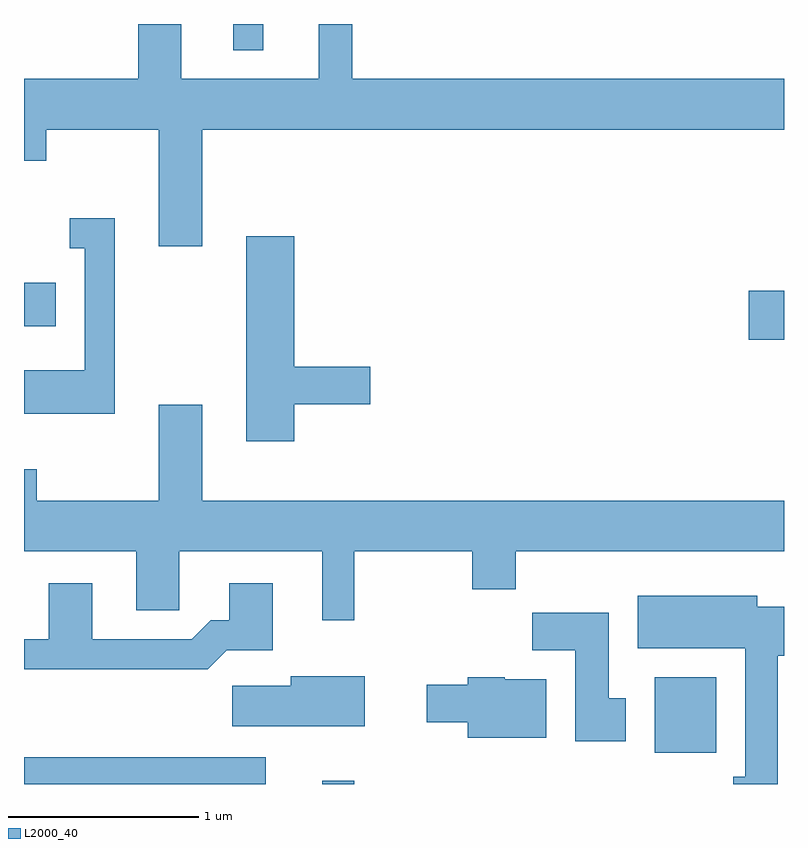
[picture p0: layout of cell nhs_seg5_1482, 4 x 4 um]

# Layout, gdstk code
import gdstk
lib = gdstk.Library(unit=1e-6, precision=1e-09)
def R(c, l, rs):  # rectangles x0, y0, x1, y1
    for r in rs: c.add(gdstk.rectangle(r[:2], r[2:], *l))
def P(c, l, *ps):  # polygons
    for p in ps: c.add(gdstk.Polygon(p, *l))
L2000_40 = (2000, 40)

nhs_seg5_1482 = lib.new_cell('nhs_seg5_1482')
R(nhs_seg5_1482, L2000_40, [(229.611,1400.072,230.884,1400.214), (231.181,1400.072,231.349,1400.088), (232.931,1400.236,233.254,1400.634), (233.426,1402.411,233.611,1402.669), (229.611,1402.481,229.779,1402.709), (230.711,1403.933,230.869,1404.072)])
P(nhs_seg5_1482, L2000_40, [(230.549,1403.516),(233.611,1403.516),(233.611,1403.784),(231.339,1403.784),(231.339,1404.072),(231.161,1404.072),(231.161,1403.784),(230.439,1403.784),(230.439,1404.072),(230.211,1404.072),(230.211,1403.784),(229.611,1403.784),(229.611,1403.351),(229.729,1403.351),(229.729,1403.516),(230.321,1403.516),(230.321,1402.901),(230.549,1402.901)],
  [(230.089,1403.049),(229.853,1403.049),(229.853,1402.891),(229.931,1402.891),(229.931,1402.249),(229.611,1402.249),(229.611,1402.021),(230.089,1402.021)],
  [(231.034,1402.071),(231.434,1402.071),(231.434,1402.269),(231.034,1402.269),(231.034,1402.954),(230.781,1402.954),(230.781,1401.876),(231.034,1401.876)],
  [(231.349,1401.296),(231.971,1401.296),(231.971,1401.096),(232.199,1401.096),(232.199,1401.296),(233.611,1401.296),(233.611,1401.564),(230.549,1401.564),(230.549,1402.069),(230.321,1402.069),(230.321,1401.564),(229.679,1401.564),(229.679,1401.729),(229.611,1401.729),(229.611,1401.296),(230.201,1401.296),(230.201,1400.986),(230.429,1400.986),(230.429,1401.296),(231.181,1401.296),(231.181,1400.933),(231.349,1400.933)],
  [(230.677,1400.776),(230.919,1400.776),(230.919,1401.129),(230.691,1401.129),(230.691,1400.934),(230.594,1400.934),(230.494,1400.834),(229.969,1400.834),(229.969,1401.129),(229.741,1401.129),(229.741,1400.834),(229.611,1400.834),(229.611,1400.676),(230.577,1400.676)],
  [(233.579,1400.746),(233.611,1400.746),(233.611,1401.004),(233.469,1401.004),(233.469,1401.064),(232.841,1401.064),(232.841,1400.786),(233.406,1400.786),(233.406,1400.109),(233.343,1400.109),(233.343,1400.072),(233.579,1400.072)],
  [(232.779,1400.524),(232.689,1400.524),(232.689,1400.974),(232.286,1400.974),(232.286,1400.776),(232.511,1400.776),(232.511,1400.296),(232.779,1400.296)],
  [(231.404,1400.639),(231.016,1400.639),(231.016,1400.589),(230.706,1400.589),(230.706,1400.376),(231.404,1400.376)],
  [(232.359,1400.624),(232.14,1400.624),(232.14,1400.634),(231.946,1400.634),(231.946,1400.594),(231.731,1400.594),(231.731,1400.396),(231.946,1400.396),(231.946,1400.316),(232.359,1400.316)])

lib.write_gds('nhs_seg5_1482.gds')
